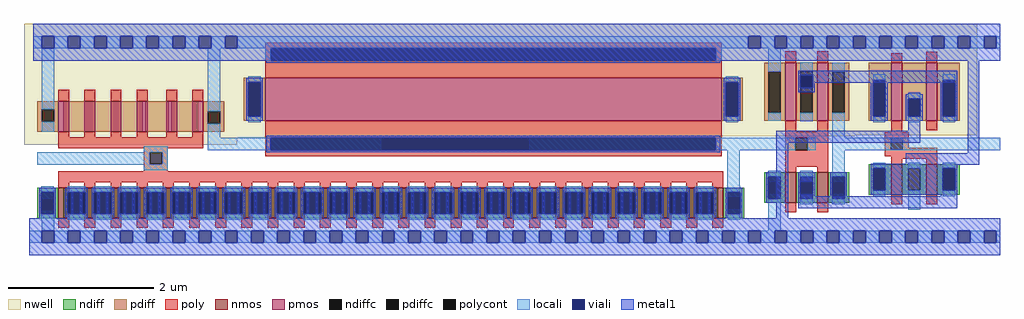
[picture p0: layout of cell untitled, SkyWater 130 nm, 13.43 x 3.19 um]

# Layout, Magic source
magic
tech sky130A
magscale 1 2
<< nwell >>
rect 1419 162 4041 469
rect 1987 156 2086 162
rect 3434 160 3704 162
<< pdiff >>
rect 3549 338 3595 339
rect 3549 281 3555 338
rect 3589 281 3595 338
rect 3948 316 3987 339
<< ndiffc >>
rect 3467 0 3501 34
rect 3555 0 3589 34
rect 3643 0 3677 34
rect 1468 -46 1502 -12
rect 3354 -41 3388 -7
<< pdiffc >>
rect 1468 200 1502 234
rect 1925 194 1959 228
rect 3467 224 3501 337
rect 3555 224 3589 338
rect 3643 224 3677 337
<< poly >>
rect 1513 127 1912 157
rect 3513 155 3631 172
rect 1749 116 1815 127
rect 1749 82 1765 116
rect 1799 82 1815 116
rect 1749 63 1815 82
rect 3513 121 3541 155
rect 3575 121 3631 155
rect 3513 75 3631 121
rect 1513 33 3343 63
<< polycont >>
rect 1765 82 1799 116
rect 3541 121 3575 155
<< locali >>
rect 1444 401 1468 435
rect 1502 401 1540 435
rect 1574 401 1612 435
rect 1646 401 1684 435
rect 1718 401 1756 435
rect 1790 401 1828 435
rect 1862 401 1900 435
rect 1934 401 1972 435
rect 2006 401 3412 435
rect 3446 401 3484 435
rect 3518 401 3556 435
rect 3590 401 3628 435
rect 3662 401 3700 435
rect 3734 401 3772 435
rect 3806 401 3844 435
rect 3878 401 3916 435
rect 3950 401 3988 435
rect 4022 401 4060 435
rect 4094 401 4104 435
rect 1468 234 1502 401
rect 1468 172 1502 200
rect 1925 228 1959 401
rect 3467 337 3501 401
rect 3467 202 3501 224
rect 3555 338 3589 363
rect 3555 201 3589 224
rect 3643 337 3677 362
rect 1925 155 1959 194
rect 3643 155 3677 224
rect 1749 116 1815 132
rect 1924 121 2402 155
rect 2809 121 3541 155
rect 3575 121 3597 155
rect 3643 121 4104 155
rect 1455 82 1765 116
rect 1799 82 1815 116
rect 1455 81 1815 82
rect 1749 66 1815 81
rect 1468 -12 1502 18
rect 1468 -100 1502 -46
rect 3354 -7 3388 121
rect 3354 -66 3388 -41
rect 3467 34 3501 60
rect 3467 -100 3501 0
rect 3555 34 3589 60
rect 3555 -24 3589 0
rect 3643 34 3677 121
rect 3643 -24 3677 0
rect 1433 -134 1468 -100
rect 1502 -134 1540 -100
rect 1574 -134 1612 -100
rect 1646 -134 1684 -100
rect 1718 -134 1756 -100
rect 1790 -134 1828 -100
rect 1862 -134 1900 -100
rect 1934 -134 1972 -100
rect 2006 -134 2044 -100
rect 2078 -134 2116 -100
rect 2150 -134 2188 -100
rect 2222 -134 2260 -100
rect 2294 -134 2332 -100
rect 2366 -134 2404 -100
rect 2438 -134 2476 -100
rect 2510 -134 2548 -100
rect 2582 -134 2620 -100
rect 2654 -134 2692 -100
rect 2726 -134 2764 -100
rect 2798 -134 2836 -100
rect 2870 -134 2908 -100
rect 2942 -134 2980 -100
rect 3014 -134 3052 -100
rect 3086 -134 3124 -100
rect 3158 -134 3196 -100
rect 3230 -134 3268 -100
rect 3302 -134 3340 -100
rect 3374 -134 3412 -100
rect 3446 -134 3484 -100
rect 3518 -134 3556 -100
rect 3590 -134 3628 -100
rect 3662 -134 3700 -100
rect 3734 -134 3772 -100
rect 3806 -134 3844 -100
rect 3878 -134 3916 -100
rect 3950 -134 3988 -100
rect 4022 -134 4060 -100
rect 4094 -134 4104 -100
<< viali >>
rect 1468 401 1502 435
rect 1540 401 1574 435
rect 1612 401 1646 435
rect 1684 401 1718 435
rect 1756 401 1790 435
rect 1828 401 1862 435
rect 1900 401 1934 435
rect 1972 401 2006 435
rect 3412 401 3446 435
rect 3484 401 3518 435
rect 3556 401 3590 435
rect 3628 401 3662 435
rect 3700 401 3734 435
rect 3772 401 3806 435
rect 3844 401 3878 435
rect 3916 401 3950 435
rect 3988 401 4022 435
rect 4060 401 4094 435
rect 3555 293 3589 327
rect 3555 0 3589 34
rect 1468 -134 1502 -100
rect 1540 -134 1574 -100
rect 1612 -134 1646 -100
rect 1684 -134 1718 -100
rect 1756 -134 1790 -100
rect 1828 -134 1862 -100
rect 1900 -134 1934 -100
rect 1972 -134 2006 -100
rect 2044 -134 2078 -100
rect 2116 -134 2150 -100
rect 2188 -134 2222 -100
rect 2260 -134 2294 -100
rect 2332 -134 2366 -100
rect 2404 -134 2438 -100
rect 2476 -134 2510 -100
rect 2548 -134 2582 -100
rect 2620 -134 2654 -100
rect 2692 -134 2726 -100
rect 2764 -134 2798 -100
rect 2836 -134 2870 -100
rect 2908 -134 2942 -100
rect 2980 -134 3014 -100
rect 3052 -134 3086 -100
rect 3124 -134 3158 -100
rect 3196 -134 3230 -100
rect 3268 -134 3302 -100
rect 3340 -134 3374 -100
rect 3412 -134 3446 -100
rect 3484 -134 3518 -100
rect 3556 -134 3590 -100
rect 3628 -134 3662 -100
rect 3700 -134 3734 -100
rect 3772 -134 3806 -100
rect 3844 -134 3878 -100
rect 3916 -134 3950 -100
rect 3988 -134 4022 -100
rect 4060 -134 4094 -100
<< metal1 >>
rect 1444 435 4104 469
rect 1444 401 1468 435
rect 1502 401 1540 435
rect 1574 401 1612 435
rect 1646 401 1684 435
rect 1718 401 1756 435
rect 1790 401 1828 435
rect 1862 401 1900 435
rect 1934 401 1972 435
rect 2006 401 3412 435
rect 3446 401 3484 435
rect 3518 401 3556 435
rect 3590 401 3628 435
rect 3662 401 3700 435
rect 3734 401 3772 435
rect 3806 401 3844 435
rect 3878 401 3916 435
rect 3950 401 3988 435
rect 4022 401 4060 435
rect 4094 401 4104 435
rect 1444 367 4104 401
rect 3549 327 3987 339
rect 3549 293 3555 327
rect 3589 316 3987 327
rect 3589 307 3980 316
rect 3589 293 3595 307
rect 3549 281 3595 293
rect 3852 174 3885 208
rect 3489 141 3885 174
rect 3489 -66 3521 141
rect 4015 113 4047 367
rect 3845 81 4047 113
rect 3845 75 3891 81
rect 3549 34 3596 60
rect 3549 0 3555 34
rect 3589 0 3596 34
rect 3549 -5 3596 0
rect 3941 -5 3987 1
rect 3549 -38 3987 -5
rect 1433 -100 4104 -66
rect 1433 -134 1468 -100
rect 1502 -134 1540 -100
rect 1574 -134 1612 -100
rect 1646 -134 1684 -100
rect 1718 -134 1756 -100
rect 1790 -134 1828 -100
rect 1862 -134 1900 -100
rect 1934 -134 1972 -100
rect 2006 -134 2044 -100
rect 2078 -134 2116 -100
rect 2150 -134 2188 -100
rect 2222 -134 2260 -100
rect 2294 -134 2332 -100
rect 2366 -134 2404 -100
rect 2438 -134 2476 -100
rect 2510 -134 2548 -100
rect 2582 -134 2620 -100
rect 2654 -134 2692 -100
rect 2726 -134 2764 -100
rect 2798 -134 2836 -100
rect 2870 -134 2908 -100
rect 2942 -134 2980 -100
rect 3014 -134 3052 -100
rect 3086 -134 3124 -100
rect 3158 -134 3196 -100
rect 3230 -134 3268 -100
rect 3302 -134 3340 -100
rect 3374 -134 3412 -100
rect 3446 -134 3484 -100
rect 3518 -134 3556 -100
rect 3590 -134 3628 -100
rect 3662 -134 3700 -100
rect 3734 -134 3772 -100
rect 3806 -134 3844 -100
rect 3878 -134 3916 -100
rect 3950 -134 3988 -100
rect 4022 -134 4060 -100
rect 4094 -134 4104 -100
rect 1433 -168 4104 -134
use sky130_fd_pr__nfet_01v8_MVW3GX  XM1
transform 1 0 3868 0 -1 41
box -125 -130 125 68
use sky130_fd_pr__pfet_01v8_XYYHBL  XM2
transform 1 0 3868 0 1 282
box -162 -177 162 118
use sky130_fd_pr__pfet_01v8_NSZ2Q7  XM3
transform 1 0 2710 0 1 261
box -727 -156 725 156
use sky130_fd_pr__nfet_01v8_L7T3GD  XM4
transform -1 0 3328 0 1 -24
box -73 -69 73 68
use sky130_fd_pr__pfet_01v8_M479BZ  XM5
transform -1 0 1897 0 1 214
box -109 -83 109 90
use sky130_fd_pr__nfet_01v8_L7T3GD  XM6
transform -1 0 3256 0 1 -24
box -73 -69 73 68
use sky130_fd_pr__pfet_01v8_M479BZ  XM7
transform -1 0 1825 0 1 214
box -109 -83 109 90
use sky130_fd_pr__pfet_01v8_M479BZ  XM8
transform -1 0 1744 0 1 214
box -109 -83 109 90
use sky130_fd_pr__pfet_01v8_M479BZ  XM9
transform -1 0 1672 0 1 214
box -109 -83 109 90
use sky130_fd_pr__pfet_01v8_M479BZ  XM10
transform -1 0 1600 0 1 214
box -109 -83 109 90
use sky130_fd_pr__pfet_01v8_M479BZ  XM11
transform -1 0 1528 0 1 214
box -109 -83 109 90
use sky130_fd_pr__nfet_01v8_L7T3GD  XM12
transform -1 0 1888 0 1 -24
box -73 -69 73 68
use sky130_fd_pr__nfet_01v8_L7T3GD  XM13
transform 1 0 3616 0 1 18
box -73 -69 73 68
use sky130_fd_pr__pfet_01v8_XYUFBL  XM14
transform 1 0 3528 0 1 282
box -109 -127 110 116
use sky130_fd_pr__nfet_01v8_L7T3GD  XM15
transform 1 0 3528 0 1 18
box -73 -69 73 68
use sky130_fd_pr__pfet_01v8_XYUFBL  XM16
transform 1 0 3616 0 1 282
box -109 -127 110 116
use sky130_fd_pr__nfet_01v8_L7T3GD  XM17
transform -1 0 2608 0 1 -24
box -73 -69 73 68
use sky130_fd_pr__nfet_01v8_L7T3GD  XM18
transform -1 0 2536 0 1 -24
box -73 -69 73 68
use sky130_fd_pr__nfet_01v8_L7T3GD  XM19
transform -1 0 2464 0 1 -24
box -73 -69 73 68
use sky130_fd_pr__nfet_01v8_L7T3GD  XM20
transform -1 0 2392 0 1 -24
box -73 -69 73 68
use sky130_fd_pr__nfet_01v8_L7T3GD  XM21
transform -1 0 3184 0 1 -24
box -73 -69 73 68
use sky130_fd_pr__nfet_01v8_L7T3GD  XM22
transform -1 0 3112 0 1 -24
box -73 -69 73 68
use sky130_fd_pr__nfet_01v8_L7T3GD  XM23
transform -1 0 3040 0 1 -24
box -73 -69 73 68
use sky130_fd_pr__nfet_01v8_L7T3GD  XM24
transform -1 0 2968 0 1 -24
box -73 -69 73 68
use sky130_fd_pr__nfet_01v8_L7T3GD  XM25
transform -1 0 2896 0 1 -24
box -73 -69 73 68
use sky130_fd_pr__nfet_01v8_L7T3GD  XM26
transform -1 0 2824 0 1 -24
box -73 -69 73 68
use sky130_fd_pr__nfet_01v8_L7T3GD  XM27
transform -1 0 2752 0 1 -24
box -73 -69 73 68
use sky130_fd_pr__nfet_01v8_L7T3GD  XM28
transform -1 0 2680 0 1 -24
box -73 -69 73 68
use sky130_fd_pr__nfet_01v8_L7T3GD  XM29
transform -1 0 2320 0 1 -24
box -73 -69 73 68
use sky130_fd_pr__nfet_01v8_L7T3GD  XM30
transform -1 0 2248 0 1 -24
box -73 -69 73 68
use sky130_fd_pr__nfet_01v8_L7T3GD  XM31
transform -1 0 2176 0 1 -24
box -73 -69 73 68
use sky130_fd_pr__nfet_01v8_L7T3GD  XM32
transform -1 0 2104 0 1 -24
box -73 -69 73 68
use sky130_fd_pr__nfet_01v8_L7T3GD  XM33
transform -1 0 2032 0 1 -24
box -73 -69 73 68
use sky130_fd_pr__nfet_01v8_L7T3GD  XM34
transform -1 0 1960 0 1 -24
box -73 -69 73 68
use sky130_fd_pr__nfet_01v8_L7T3GD  XM36
transform -1 0 1816 0 1 -24
box -73 -69 73 68
use sky130_fd_pr__nfet_01v8_L7T3GD  XM37
transform -1 0 1744 0 1 -24
box -73 -69 73 68
use sky130_fd_pr__nfet_01v8_L7T3GD  XM38
transform -1 0 1672 0 1 -24
box -73 -69 73 68
use sky130_fd_pr__nfet_01v8_L7T3GD  XM39
transform -1 0 1600 0 1 -24
box -73 -69 73 68
use sky130_fd_pr__nfet_01v8_L7T3GD  XM40
transform -1 0 1528 0 1 -24
box -73 -69 73 68
<< end >>

# cell sky130_fd_pr__nfet_01v8_MVW3GX: kit device sky130_fd_pr__nfet_01v8, w 0.42 l 0.15 m 1 nf 2 diffcov 100 polycov 100 guard 1 glc 1 grc 1 gtc 1 gbc 1 tbcov 100 rlcov 100 topc 1 botc 1 poverlap 0 doverlap 1 lmin 0.15 wmin 0.42 compatible {sky130_fd_pr__nfet_01v8 sky130_fd_pr__nfet_01v8_lvt sky130_fd_bs_flash__special_sonosfet_star sky130_fd_pr__nfet_g5v0d10v5 sky130_fd_pr__nfet_05v0_nvt sky130_fd_pr__nfet_03v3_nvt} full_metal 1 viasrc 100 viadrn 100 viagate 100 viagb 0 viagr 0 viagl 0 viagt 0

# cell sky130_fd_pr__pfet_01v8_XYYHBL: kit device sky130_fd_pr__pfet_01v8, w 0.8 l 0.15 m 1 nf 2 diffcov 100 polycov 100 guard 1 glc 1 grc 1 gtc 1 gbc 1 tbcov 100 rlcov 100 topc 1 botc 1 poverlap 0 doverlap 1 lmin 0.15 wmin 0.42 compatible {sky130_fd_pr__pfet_01v8 sky130_fd_pr__pfet_01v8_lvt sky130_fd_pr__pfet_01v8_hvt sky130_fd_pr__pfet_g5v0d10v5} full_metal 1 viasrc 100 viadrn 100 viagate 100 viagb 0 viagr 0 viagl 0 viagt 0

# cell sky130_fd_pr__pfet_01v8_NSZ2Q7: kit device sky130_fd_pr__pfet_01v8, w 0.59 l 6.28 m 1 nf 1 diffcov 100 polycov 100 guard 1 glc 1 grc 1 gtc 1 gbc 1 tbcov 100 rlcov 100 topc 1 botc 1 poverlap 0 doverlap 1 lmin 0.15 wmin 0.42 compatible {sky130_fd_pr__pfet_01v8 sky130_fd_pr__pfet_01v8_lvt sky130_fd_pr__pfet_01v8_hvt sky130_fd_pr__pfet_g5v0d10v5} full_metal 1 viasrc 100 viadrn 100 viagate 100 viagb 0 viagr 0 viagl 0 viagt 0

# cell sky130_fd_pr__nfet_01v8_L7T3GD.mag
magic
tech sky130A
magscale 1 2
use sky130_fd_pr__nfet_01v8_A6LSUL  sky130_fd_pr__nfet_01v8_A6LSUL_0
transform 1 0 73 0 1 68
box -146 -136 0 0
<< end >>

# cell sky130_fd_pr__pfet_01v8_M479BZ: kit device sky130_fd_pr__pfet_01v8, w 0.42 l 0.15 m 1 nf 1 diffcov 100 polycov 100 guard 1 glc 1 grc 1 gtc 1 gbc 1 tbcov 100 rlcov 100 topc 1 botc 1 poverlap 0 doverlap 1 lmin 0.15 wmin 0.42 compatible {sky130_fd_pr__pfet_01v8 sky130_fd_pr__pfet_01v8_lvt sky130_fd_pr__pfet_01v8_hvt sky130_fd_pr__pfet_g5v0d10v5} full_metal 1 viasrc 100 viadrn 100 viagate 100 viagb 0 viagr 0 viagl 0 viagt 0

# cell sky130_fd_pr__pfet_01v8_XYUFBL: kit device sky130_fd_pr__pfet_01v8, w 0.8 l 0.15 m 1 nf 1 diffcov 100 polycov 100 guard 1 glc 1 grc 1 gtc 1 gbc 1 tbcov 100 rlcov 100 topc 1 botc 1 poverlap 0 doverlap 1 lmin 0.15 wmin 0.42 compatible {sky130_fd_pr__pfet_01v8 sky130_fd_pr__pfet_01v8_lvt sky130_fd_pr__pfet_01v8_hvt sky130_fd_pr__pfet_g5v0d10v5} full_metal 1 viasrc 100 viadrn 100 viagate 100 viagb 0 viagr 0 viagl 0 viagt 0

# cell sky130_fd_pr__nfet_01v8_A6LSUL: kit device sky130_fd_pr__nfet_01v8, w 0.420 l 0.150 m 1 nf 1 diffcov 100 polycov 100 guard 0 glc 0 grc 0 gtc 0 gbc 0 tbcov 100 rlcov 100 topc 0 botc 0 poverlap 0 doverlap 0 lmin 0.15 wmin 0.42 compatible {sky130_fd_pr__nfet_01v8 sky130_fd_pr__nfet_01v8_lvt sky130_fd_bs_flash__special_sonosfet_star sky130_fd_pr__nfet_g5v0d10v5 sky130_fd_pr__nfet_05v0_nvt sky130_fd_pr__nfet_03v3_nvt} full_metal 0 viasrc 100 viadrn 100 viagate 100 viagb 0 viagr 0 viagl 0 viagt 0
